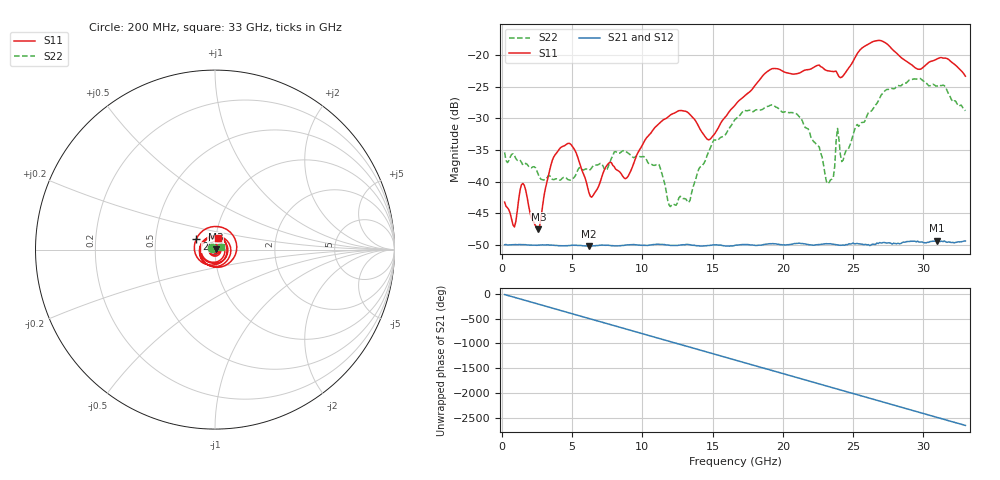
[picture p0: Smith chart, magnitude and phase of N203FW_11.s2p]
# GHZ S RI R 50
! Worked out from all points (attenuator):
!   329 points, 200 MHz to 33 GHz, reference 50 ohm
!   highest |S21| = -49.30 dB at 31 GHz (marker M1); lowest = -50.2 dB at 6.2 GHz (marker M2)
!   lowest |S11| = -47.5 dB at 2.6 GHz (marker M3), VSWR 1.01, Z = 50.4 + j0.103 ohm
!   |S11| at or under -10 dB: start of sweep to end of sweep
!   |S22| runs from -43.9 to -23.7 dB; largest |S21 - S12| = 8.8e-05
!   S11 on the Smith chart (normalised r, x): 200 MHz: 1.01, +0.01; 26 GHz: 0.81, +0.10; 33 GHz: 1.03, +0.14
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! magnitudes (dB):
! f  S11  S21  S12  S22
! 200 MHz  -43.2  -50.0  -49.9  -35.4
! 900 MHz  -47.2  -49.9  -49.9  -35.9
! 1.5 GHz  -40.3  -49.9  -49.9  -37.4
! 2.6 GHz  -47.5  -50.0  -50.0  -38.9
! 3.8 GHz  -35.7  -50.1  -50.0  -39.6
! 5.7 GHz  -38.2  -50.1  -50.1  -38.1
! 6.2 GHz  -41.7  -50.2  -50.2  -38.2
! 11.2 GHz  -30.8  -49.9  -49.9  -37.3
! 11.9 GHz  -29.7  -50.0  -50.0  -43.7
! 13.3 GHz  -29.2  -49.9  -50.0  -43.3
! 14.7 GHz  -33.4  -50.1  -50.1  -35.4
! 16.6 GHz  -27.9  -50.0  -50.1  -30.2
! 19.3 GHz  -22.2  -49.8  -49.8  -27.9
! 22.1 GHz  -22.1  -50.0  -50.0  -33.4
! 23.2 GHz  -22.5  -49.8  -49.8  -40.3
! 23.6 GHz  -22.6  -49.9  -49.9  -39.3
! 23.9 GHz  -23.0  -50.0  -50.0  -31.6
! 24.2 GHz  -23.5  -50.0  -50.0  -36.8
! 26 GHz  -18.4  -50.0  -49.9  -29.5
! 27.6 GHz  -18.6  -49.7  -49.7  -25.4
! 31 GHz  -20.6  -49.3  -49.3  -24.9
! 33 GHz  -23.4  -49.4  -49.4  -28.8
